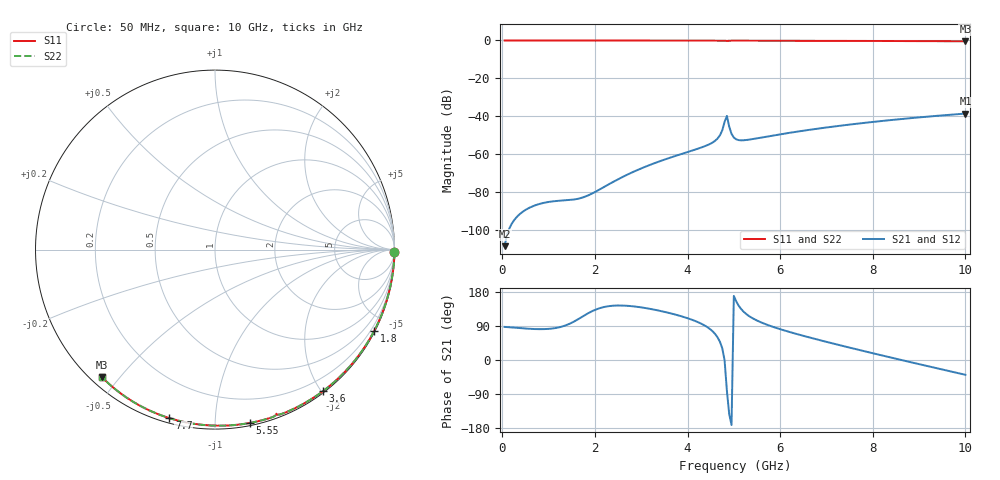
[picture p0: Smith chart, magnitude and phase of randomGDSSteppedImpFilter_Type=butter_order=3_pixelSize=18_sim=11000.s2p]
! freq	dB(S11)	phase(S11)	dB(S12)	phase(S12)
!  dB(S21)	phase(S21)	dB(S22)	phase(S22)
!S-par simulation data
#  GHz  S  DB  R 50
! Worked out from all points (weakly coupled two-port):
!   200 points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, 50 MHz to 10 GHz, reference 50 ohm
!   highest |S21| = -38.57 dB at 10 GHz (marker M1); lowest = -108.5 dB at 50 MHz (marker M2)
!   lowest |S11| = -0.4 dB at 10 GHz (marker M3), VSWR 38.78, Z = 1.55 - j22.5 ohm
!   |S11| at or under -10 dB: nowhere
!   |S22| runs from -0.4 to 0.0 dB; largest |S21 - S12| = 0
!   S11 on the Smith chart (normalised r, x): 50 MHz: open; 1.8 GHz: 0.04, -4.17; 3.6 GHz: 0.02, -2.02; 5.55 GHz: 0.02, -1.22; 7.7 GHz: 0.02, -0.77; 10 GHz: 0.03, -0.45
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0.05  -0.00 -0.8  -108.50 87.3  -108.50 87.3  -0.00 -0.8
1.75  -0.03 -26.2  -82.72 116.0  -82.72 116.0  -0.03 -26.2
1.8  -0.03 -27.0  -82.27 119.6  -82.27 119.6  -0.03 -27.0
2  -0.04 -29.9  -79.97 132.2  -79.97 132.2  -0.04 -29.9
2.75  -0.05 -40.7  -70.19 142.5  -70.19 142.5  -0.05 -40.7
3.4  -0.07 -49.9  -63.72 129.9  -63.72 129.9  -0.07 -49.9
3.6  -0.07 -52.7  -62.02 124.2  -62.02 124.2  -0.07 -52.7
4.35  -0.09 -63.0  -55.99 92.4  -55.99 92.4  -0.09 -63.0
4.6  -0.10 -66.4  -52.82 68.0  -52.82 68.0  -0.10 -66.4
4.7  -0.10 -67.8  -50.03 48.0  -50.03 48.0  -0.10 -67.8
4.75  -0.11 -68.5  -47.42 31.0  -47.42 31.0  -0.11 -68.5
4.8  -0.14 -69.3  -42.96 -0.7  -42.96 -0.7  -0.14 -69.3
4.85  -0.21 -69.5  -39.81 -81.1  -39.81 -81.1  -0.21 -69.5
4.9  -0.14 -70.0  -45.46 -142.9  -45.46 -142.9  -0.14 -70.0
4.95  -0.12 -70.7  -49.25 -171.6  -49.25 -171.6  -0.12 -70.7
5.05  -0.12 -72.1  -52.13 155.0  -52.13 155.0  -0.12 -72.1
5.2  -0.12 -74.1  -52.67 128.8  -52.67 128.8  -0.12 -74.1
5.55  -0.13 -78.7  -51.40 101.3  -51.40 101.3  -0.13 -78.7
6.7  -0.18 -93.1  -46.90 57.3  -46.90 57.3  -0.18 -93.1
7.7  -0.24 -105.1  -43.79 26.7  -43.79 26.7  -0.24 -105.1
8.35  -0.29 -112.7  -42.09 7.7  -42.09 7.7  -0.29 -112.7
10  -0.45 -131.5  -38.57 -39.0  -38.57 -39.0  -0.45 -131.5
